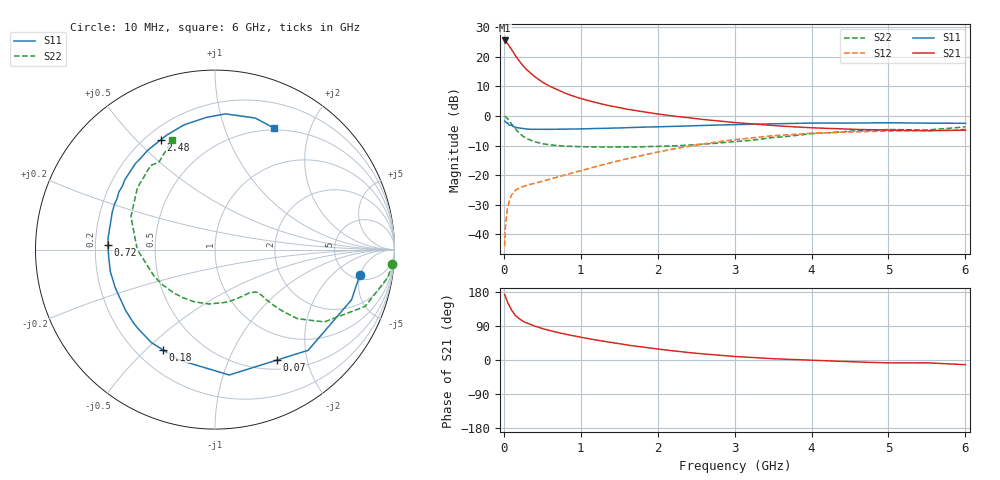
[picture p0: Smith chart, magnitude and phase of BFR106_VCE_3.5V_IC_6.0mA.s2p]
! Infineon Technologies  Discrete & RF Semiconductors
! BFR106
! VCE =  3.5 V,  IC =  6.0 mA
! Common Emitter S-Parameters:  Nov 2015
# GHz  S  MA  R  50
!  f  S11  S21  S12  S22
! GHz  MAG  ANG  MAG  ANG  MAG  ANG  MAG  ANG
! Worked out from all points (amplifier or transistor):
!   210 points, 10 MHz to 6 GHz, reference 50 ohm
!   highest |S21| = 25.5 dB at 10 MHz (marker M1)
!   |S21| within 3 dB of that: start of sweep to 99.76 MHz
!   unconditionally stable (mu >= 1): 580 MHz to 2.042 GHz; 4.705 GHz to end of sweep
!   at 185 MHz: K = 0.43, MSG = 21.9 dB, |S12| = -24.6 dB
!   at 1.52 GHz: K = 1.10, MAG = 6.9 dB, |S12| = -15.0 dB
!   at 6 GHz: K = 1.02, MAG = -1.0 dB, |S12| = -4.6 dB
!   S11 on the Smith chart (normalised r, x): 10 MHz: 5.66, -4.93; 70 MHz: 0.62, -1.52; 180 MHz: 0.31, -0.56; 720 MHz: 0.25, +0.02; 2.48 GHz: 0.26, +0.59; 6 GHz: 0.48, +1.49
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0.01  0.8187 -10.1  18.86 173.1  0.0063 86.5  0.9911 -4.5
0.02  0.8104 -20.2  18.53 167.7  0.0126 79.2  0.9757 -9.1
0.05  0.7644 -47.2  16.67 150.8  0.0288 66.6  0.8944 -20.7
0.07  0.7052 -60.9  15.14 144.0  0.0356 59.7  0.8241 -25.2
0.1  0.7031 -83.5  13.34 131.2  0.0465 53.3  0.7304 -33.5
0.15  0.6471 -107.9  10.42 117.3  0.0555 44.5  0.5985 -40.0
0.18  0.629 -117.7  9.227 112.6  0.0585 42.6  0.5475 -41.2
0.2  0.6277 -124.5  8.475 108.8  0.0605 41.5  0.5136 -42.2
0.24  0.6142 -134.3  7.308 103.4  0.0635 40.2  0.463 -43.3
0.3  0.6022 -145.9  5.98 97.1  0.0673 40.6  0.4137 -44.2
0.4  0.595 -158.9  4.618 89.4  0.0732 41.9  0.3654 -44.4
0.5  0.5959 -168.0  3.74 82.8  0.0786 44.8  0.3388 -45.0
0.6  0.5937 -175.4  3.161 77.5  0.0855 47.3  0.3246 -46.7
0.72  0.5969 177.6  2.679 71.7  0.0945 50.7  0.3142 -49.6
1.02  0.6037 163.2  1.94 59.3  0.1205 56.8  0.3023 -58.3
1.4  0.6243 149.1  1.46 46.2  0.163 60.4  0.2997 -73.2
2.02  0.6561 129.2  1.071 28.5  0.2484 58.4  0.3058 -102.9
2.48  0.6827 116.1  0.907 18.2  0.319 52.9  0.3254 -127.9
3.1  0.719 101.7  0.755 8.2  0.4096 42.4  0.3763 -161.1
4.1  0.7577 84.1  0.624 -1.4  0.5147 23.6  0.5091 155.0
5.1  0.7639 71.9  0.575 -7.6  0.5567 7.9  0.5876 126.5
6  0.7519 63.9  0.575 -12.3  0.5915 -2.9  0.6541 111.4
